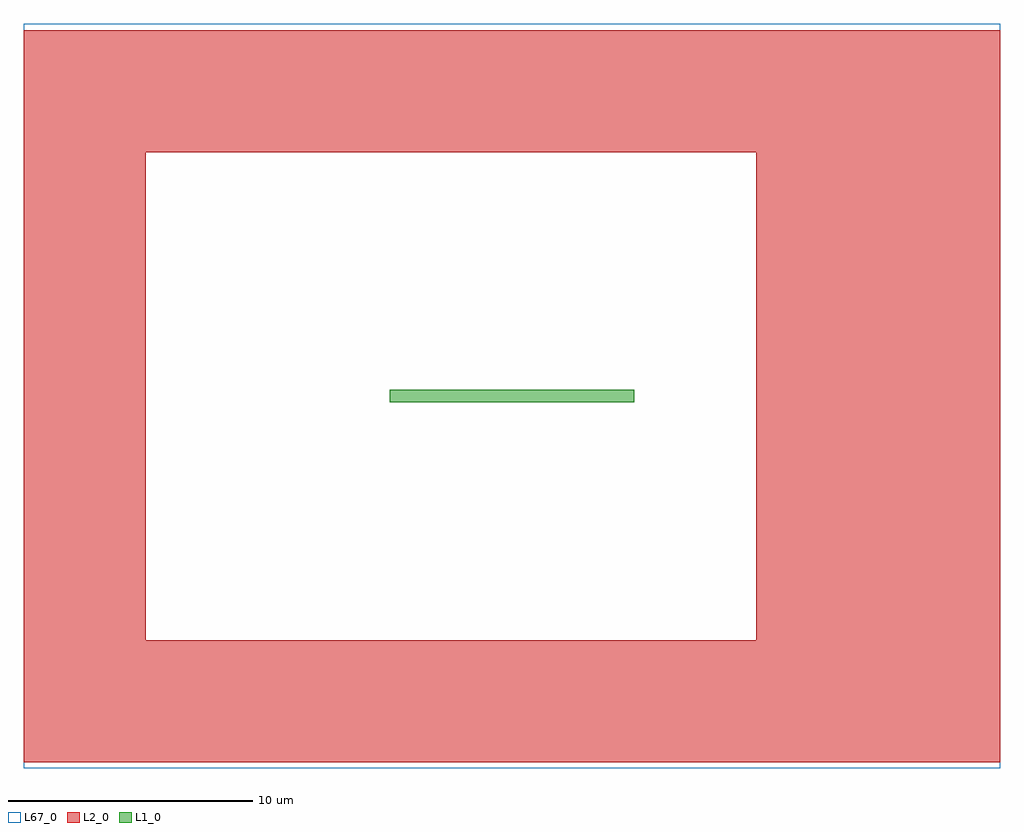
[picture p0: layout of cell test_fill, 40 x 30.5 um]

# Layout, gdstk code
import gdstk
lib = gdstk.Library(unit=1e-6, precision=1e-09)
def R(c, l, rs):  # rectangles x0, y0, x1, y1
    for r in rs: c.add(gdstk.rectangle(r[:2], r[2:], *l))
L1_0 = (1, 0)
L2_0 = (2, 0)
L67_0 = (67, 0)

straight = lib.new_cell('straight')
R(straight, L1_0, [(0,-0.25,10,0.25)])

straight_container_8b698 = lib.new_cell('straight_container_8b698785')
R(straight_container_8b698, L67_0, [(-15,-15.25,25,15.25)])
straight_container_8b698.add(gdstk.Reference(straight, (0,0)))

compass_d2cc2f0f = lib.new_cell('compass_d2cc2f0f')
R(compass_d2cc2f0f, L2_0, [(-2.5,-2.5,2.5,2.5)])

rectangle_257a39cb = lib.new_cell('rectangle_257a39cb')
rectangle_257a39cb.add(gdstk.Reference(compass_d2cc2f0f, (0,0)))

fill_cell_rectangle_8e11 = lib.new_cell('fill_cell_rectangle_8e11e9af')
fill_cell_rectangle_8e11.add(gdstk.Reference(rectangle_257a39cb, (0,0)))

fill_rectangle_eab89262 = lib.new_cell('fill_rectangle_eab89262')
r = gdstk.Reference(fill_cell_rectangle_8e11, (-12.5,-12.5)); r.repetition = gdstk.Repetition(8, 1, v1=(5,0), v2=(0,5)); fill_rectangle_eab89262.add(r)
r = gdstk.Reference(fill_cell_rectangle_8e11, (-12.5,-7.5)); r.repetition = gdstk.Repetition(1, 1, v1=(5,0), v2=(0,5)); fill_rectangle_eab89262.add(r)
r = gdstk.Reference(fill_cell_rectangle_8e11, (17.5,-7.5)); r.repetition = gdstk.Repetition(2, 1, v1=(5,0), v2=(0,5)); fill_rectangle_eab89262.add(r)
r = gdstk.Reference(fill_cell_rectangle_8e11, (-12.5,-2.5)); r.repetition = gdstk.Repetition(1, 1, v1=(5,0), v2=(0,5)); fill_rectangle_eab89262.add(r)
r = gdstk.Reference(fill_cell_rectangle_8e11, (17.5,-2.5)); r.repetition = gdstk.Repetition(2, 1, v1=(5,0), v2=(0,5)); fill_rectangle_eab89262.add(r)
r = gdstk.Reference(fill_cell_rectangle_8e11, (-12.5,2.5)); r.repetition = gdstk.Repetition(1, 1, v1=(5,0), v2=(0,5)); fill_rectangle_eab89262.add(r)
r = gdstk.Reference(fill_cell_rectangle_8e11, (17.5,2.5)); r.repetition = gdstk.Repetition(2, 1, v1=(5,0), v2=(0,5)); fill_rectangle_eab89262.add(r)
r = gdstk.Reference(fill_cell_rectangle_8e11, (-12.5,7.5)); r.repetition = gdstk.Repetition(1, 1, v1=(5,0), v2=(0,5)); fill_rectangle_eab89262.add(r)
r = gdstk.Reference(fill_cell_rectangle_8e11, (17.5,7.5)); r.repetition = gdstk.Repetition(2, 1, v1=(5,0), v2=(0,5)); fill_rectangle_eab89262.add(r)
r = gdstk.Reference(fill_cell_rectangle_8e11, (-12.5,12.5)); r.repetition = gdstk.Repetition(8, 1, v1=(5,0), v2=(0,5)); fill_rectangle_eab89262.add(r)

test_fill = lib.new_cell('test_fill')
test_fill.add(gdstk.Reference(straight, (0,0)))
test_fill.add(gdstk.Reference(straight_container_8b698, (0,0)))
test_fill.add(gdstk.Reference(fill_rectangle_eab89262, (0,0)))

lib.write_gds('test_fill.gds')
